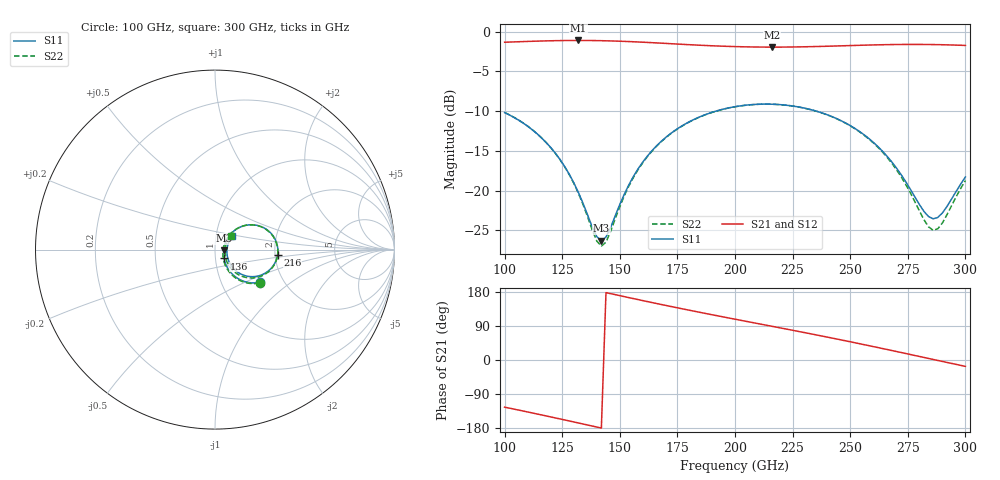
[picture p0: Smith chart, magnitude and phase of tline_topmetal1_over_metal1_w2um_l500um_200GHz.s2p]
#  GHZ S DB R 50
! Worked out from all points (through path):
!   101 points, 100 GHz to 300 GHz, reference 50 ohm
!   highest |S21| = -1.10 dB at 132 GHz (marker M1); lowest = -1.9 dB at 216 GHz (marker M2)
!   group delay of S21, straight-line fit = 3.46 ps
!   lowest |S11| = -26.3 dB at 142 GHz (marker M3), VSWR 1.10, Z = 55.1 - j0.542 ohm
!   |S11| at or under -10 dB: start of sweep to 191.6 GHz; 235.4 GHz to end of sweep
!   |S22| runs from -27.0 to -9.1 dB; largest |S21 - S12| = 0
!   S11 on the Smith chart (normalised r, x): 100 GHz: 1.52, -0.61; 136 GHz: 1.10, -0.11; 216 GHz: 2.07, -0.13; 300 GHz: 1.20, +0.18
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100  -10.17 -36.0  -1.32 -124.5  -1.32 -124.5  -10.16 -36.8
118  -13.92 -52.0  -1.15 -147.5  -1.15 -147.5  -13.93 -53.4
126  -16.93 -55.8  -1.11 -158.1  -1.11 -158.1  -16.95 -57.6
132  -20.20 -53.3  -1.10 -166.1  -1.10 -166.1  -20.30 -55.8
134  -21.56 -50.0  -1.10 -168.8  -1.10 -168.8  -21.71 -52.8
136  -23.03 -44.5  -1.10 -171.5  -1.10 -171.5  -23.28 -47.6
140  -25.77 -22.6  -1.12 -176.9  -1.12 -176.9  -26.33 -25.2
142  -26.30 -5.8  -1.13 -179.5  -1.13 -179.5  -26.98 -7.1
144  -25.83 11.0  -1.14 177.8  -1.14 177.8  -26.47 11.2
156  -18.16 44.7  -1.26 161.9  -1.26 161.9  -18.29 45.5
168  -13.78 40.0  -1.44 146.5  -1.44 146.5  -13.83 40.2
184  -10.80 26.3  -1.69 126.7  -1.69 126.7  -10.81 26.0
200  -9.43 11.0  -1.87 107.7  -1.87 107.7  -9.44 10.4
216  -9.12 -4.5  -1.93 89.0  -1.93 89.0  -9.12 -5.5
234  -9.88 -21.7  -1.87 67.7  -1.87 67.7  -9.89 -23.2
254  -12.54 -39.1  -1.71 43.1  -1.71 43.1  -12.58 -41.5
268  -16.36 -45.6  -1.62 25.1  -1.62 25.1  -16.52 -49.6
274  -18.82 -43.1  -1.60 17.3  -1.60 17.3  -19.16 -48.1
282  -22.60 -24.2  -1.60 6.7  -1.60 6.7  -23.64 -29.5
286  -23.53 -4.5  -1.62 1.5  -1.62 1.5  -24.98 -6.5
290  -22.80 15.7  -1.64 -3.8  -1.64 -3.8  -24.07 18.0
300  -18.27 37.8  -1.72 -16.8  -1.72 -16.8  -18.72 41.1
